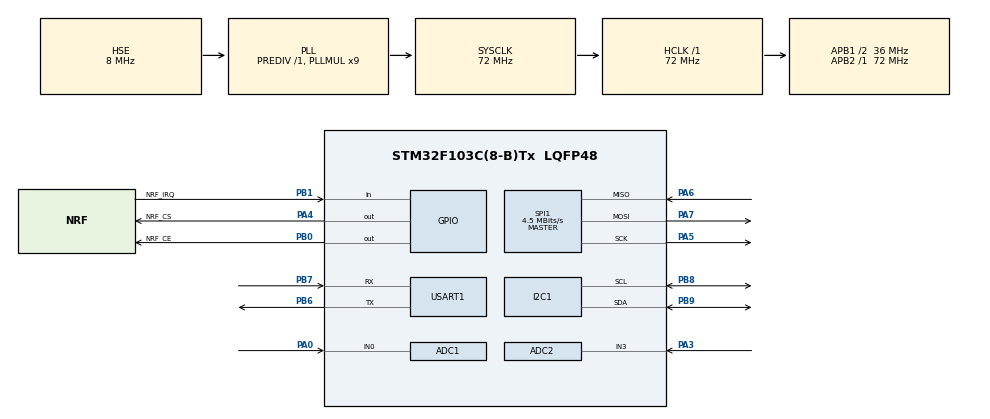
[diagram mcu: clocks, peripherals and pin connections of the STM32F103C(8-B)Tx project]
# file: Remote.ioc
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ADC1.Channel-0\#ChannelRegularConversion=ADC_CHANNEL_0
ADC1.NbrOfConversionFlag=1
ADC1.Rank-0\#ChannelRegularConversion=1
ADC1.SamplingTime-0\#ChannelRegularConversion=ADC_SAMPLETIME_1CYCLE_5
ADC1.master=1
ADC2.Channel-0\#ChannelRegularConversion=ADC_CHANNEL_3
ADC2.NbrOfConversionFlag=1
ADC2.Rank-0\#ChannelRegularConversion=1
ADC2.SamplingTime-0\#ChannelRegularConversion=ADC_SAMPLETIME_1CYCLE_5
Mcu.Family=STM32F1
Mcu.Name=STM32F103C(8-B)Tx
Mcu.Package=LQFP48
NVIC.PriorityGroup=NVIC_PRIORITYGROUP_4
PA0-WKUP.Signal=ADCx_IN0
PA13.Mode=Serial_Wire
PA13.Signal=SYS_JTMS-SWDIO
PA14.Mode=Serial_Wire
PA14.Signal=SYS_JTCK-SWCLK
PA3.Signal=ADCx_IN3
PA4.GPIO_Label=NRF_CS
PA4.GPIO_Speed=GPIO_SPEED_FREQ_HIGH
PA4.PinState=GPIO_PIN_SET
PA4.Signal=GPIO_Output
PA5.Mode=Full_Duplex_Master
PA5.Signal=SPI1_SCK
PA6.Mode=Full_Duplex_Master
PA6.Signal=SPI1_MISO
PA7.Mode=Full_Duplex_Master
PA7.Signal=SPI1_MOSI
PB0.GPIO_Label=NRF_CE
PB0.Signal=GPIO_Output
PB1.GPIO_Label=NRF_IRQ
PB1.GPIO_PuPd=GPIO_PULLUP
PB1.Signal=GPIO_Input
PB6.Mode=Asynchronous
PB6.Signal=USART1_TX
PB7.Mode=Asynchronous
PB7.Signal=USART1_RX
PB8.Mode=I2C
PB8.Signal=I2C1_SCL
PB9.Mode=I2C
PB9.Signal=I2C1_SDA
PC14-OSC32_IN.Mode=LSE-External-Oscillator
PC14-OSC32_IN.Signal=RCC_OSC32_IN
PC15-OSC32_OUT.Mode=LSE-External-Oscillator
PC15-OSC32_OUT.Signal=RCC_OSC32_OUT
PD0-OSC_IN.Mode=HSE-External-Oscillator
PD0-OSC_IN.Signal=RCC_OSC_IN
PD1-OSC_OUT.Mode=HSE-External-Oscillator
PD1-OSC_OUT.Signal=RCC_OSC_OUT
ProjectManager.HeapSize=0x200
ProjectManager.StackSize=0x400
ProjectManager.TargetToolchain=MDK-ARM V5.32
RCC.ADCPresc=RCC_ADCPCLK2_DIV6
RCC.AHBFreq_Value=72000000
RCC.APB1CLKDivider=RCC_HCLK_DIV2
RCC.APB1Freq_Value=36000000
RCC.APB1TimFreq_Value=72000000
RCC.APB2Freq_Value=72000000
RCC.APB2TimFreq_Value=72000000
RCC.HCLKFreq_Value=72000000
RCC.PLLMUL=RCC_PLL_MUL9
RCC.PLLSourceVirtual=RCC_PLLSOURCE_HSE
RCC.SYSCLKFreq_VALUE=72000000
RCC.SYSCLKSource=RCC_SYSCLKSOURCE_PLLCLK
RCC.USBFreq_Value=72000000
SH.ADCx_IN0.0=ADC1_IN0,IN0
SH.ADCx_IN3.0=ADC2_IN3,IN3
SPI1.BaudRatePrescaler=SPI_BAUDRATEPRESCALER_16
SPI1.CLKPhase=SPI_PHASE_1EDGE
SPI1.CalculateBaudRate=4.5 MBits/s
SPI1.Direction=SPI_DIRECTION_2LINES
SPI1.Mode=SPI_MODE_MASTER
SPI1.VirtualType=VM_MASTER
USART1.VirtualMode=VM_ASYNC
board=custom

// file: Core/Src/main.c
/* USER CODE BEGIN Header */
/**
  ******************************************************************************
  * @file           : main.c
  * @brief          : Main program body
  ******************************************************************************
  * @attention
  *
  * Copyright (c) 2024 STMicroelectronics.
  * All rights reserved.
  *
  * This software is licensed under terms that can be found in the LICENSE file
  * in the root directory of this software component.
  * If no LICENSE file comes with this software, it is provided AS-IS.
  *
  ******************************************************************************
  */
/* USER CODE END Header */
#include "main.h"
#include "adc.h"
#include "i2c.h"
#include "spi.h"
#include "usart.h"
#include "gpio.h"

/* USER CODE BEGIN Includes */
#include "oled.h"
#include "oled_font.h"
#include "NRF24L01.h"
#include "stdio.h"
#include "remote.h"
/* USER CODE END Includes */

void SystemClock_Config(void);

/* USER CODE BEGIN 0 */
int y=0;
int x=0;
/* USER CODE END 0 */

int main(void)
{

  /* USER CODE BEGIN 1 */
uint8_t Send_Out[8]={0};
  /* USER CODE END 1 */

  /* MCU Configuration--------------------------------------------------------*/

  /* Reset of all peripherals, Initializes the Flash interface and the Systick. */
  HAL_Init();

  /* Configure the system clock */
  SystemClock_Config();

  /* Initialize all configured peripherals */
  MX_GPIO_Init();
  MX_ADC1_Init();
  MX_ADC2_Init();
  MX_I2C1_Init();
  MX_SPI1_Init();
  MX_USART1_UART_Init();
  /* USER CODE BEGIN 2 */
	OLED_Init();                           //OLED初始
	OLED_Clear();                         //清屏

	while(NRF24L01_Check())
	{
		printf("检测不到NRF24L01无线模块，请检查硬件连接\r\n");
 		HAL_Delay(1000);
	}

	printf("NRF24L01无线模块硬件连接正常\r\n");
	NRF24L01_TX_Mode();//设置为发送模式

  /* USER CODE END 2 */

  /* Infinite loop */
  while (1)
  {

    /* USER CODE BEGIN 3 */
	 if(NRF24L01_TxPacket(Send_Out)==TX_OK)
    {
      printf("NRF24L01无线模块数据发送成功：%s\r\n",Send_Out);
    }
    else
    {
      printf("NRF24L01无线模块数据发送失败\r\n");
    }
	 y=get_valuey();
	 x=get_valuex();
	 x=4096-x;

	 if(x<100)x=0;
	 Send_Out[0]=y/1000;
	 Send_Out[1]=y/100-Send_Out[0]*10;
	 Send_Out[2]=y/10-Send_Out[1]*10;
	 Send_Out[3]=y-Send_Out[2]*10;
	 Send_Out[4]=x/1000;
	 Send_Out[5]=x/100-Send_Out[4]*10;
	 Send_Out[6]=x/10-Send_Out[5]*10;
	 Send_Out[7]=x-Send_Out[6]*10;//接收串口进行数据处理

	//  printf("%f\n%f\n",a,b);
    if(NRF24L01_TxPacket(Send_Out)==TX_OK)
    {
      printf("NRF24L01无线模块数据发送成功：%s\r\n",Send_Out);
    }
    else
    {
      printf("NRF24L01无线模块数据发送失败\r\n");
    }
	OLED_ShowNum(48,0,y,4,16, 0);
	OLED_ShowNum(48,2,x,4,16, 0);

  }
  /* USER CODE END 3 */
}

void SystemClock_Config(void)
{
  RCC_OscInitTypeDef RCC_OscInitStruct = {0};
  RCC_ClkInitTypeDef RCC_ClkInitStruct = {0};
  RCC_PeriphCLKInitTypeDef PeriphClkInit = {0};

  /** Initializes the RCC Oscillators according to the specified parameters
  * in the RCC_OscInitTypeDef structure.
  */
  RCC_OscInitStruct.OscillatorType = RCC_OSCILLATORTYPE_HSE;
  RCC_OscInitStruct.HSEState = RCC_HSE_ON;
  RCC_OscInitStruct.HSEPredivValue = RCC_HSE_PREDIV_DIV1;
  RCC_OscInitStruct.HSIState = RCC_HSI_ON;
  RCC_OscInitStruct.PLL.PLLState = RCC_PLL_ON;
  RCC_OscInitStruct.PLL.PLLSource = RCC_PLLSOURCE_HSE;
  RCC_OscInitStruct.PLL.PLLMUL = RCC_PLL_MUL9;
  if (HAL_RCC_OscConfig(&RCC_OscInitStruct) != HAL_OK)
  {
    Error_Handler();
  }

  /** Initializes the CPU, AHB and APB buses clocks
  */
  RCC_ClkInitStruct.ClockType = RCC_CLOCKTYPE_HCLK|RCC_CLOCKTYPE_SYSCLK
                              |RCC_CLOCKTYPE_PCLK1|RCC_CLOCKTYPE_PCLK2;
  RCC_ClkInitStruct.SYSCLKSource = RCC_SYSCLKSOURCE_PLLCLK;
  RCC_ClkInitStruct.AHBCLKDivider = RCC_SYSCLK_DIV1;
  RCC_ClkInitStruct.APB1CLKDivider = RCC_HCLK_DIV2;
  RCC_ClkInitStruct.APB2CLKDivider = RCC_HCLK_DIV1;

  if (HAL_RCC_ClockConfig(&RCC_ClkInitStruct, FLASH_LATENCY_2) != HAL_OK)
  {
    Error_Handler();
  }
  PeriphClkInit.PeriphClockSelection = RCC_PERIPHCLK_ADC;
  PeriphClkInit.AdcClockSelection = RCC_ADCPCLK2_DIV6;
  if (HAL_RCCEx_PeriphCLKConfig(&PeriphClkInit) != HAL_OK)
  {
    Error_Handler();
  }
}

void Error_Handler(void)
{
  __disable_irq();
  while (1)
  {
  }
}
